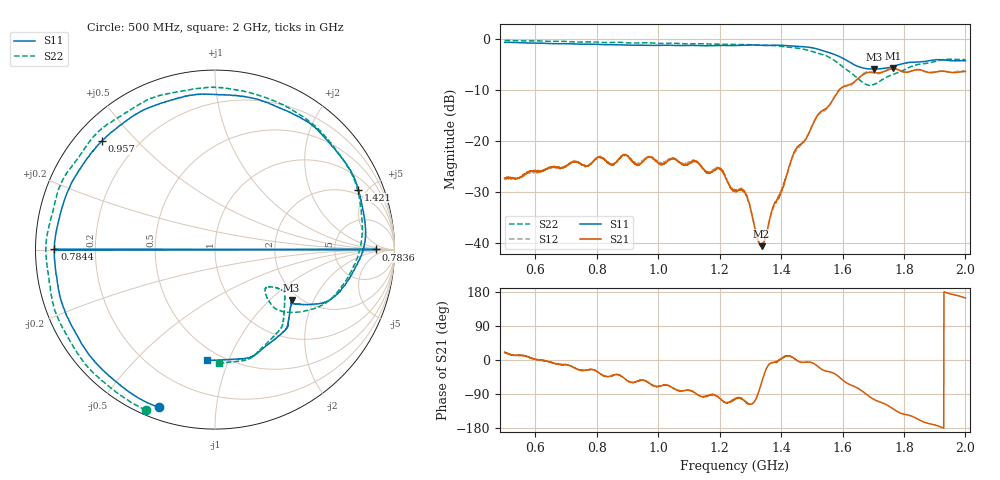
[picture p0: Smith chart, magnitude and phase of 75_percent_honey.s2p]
! Anritsu VNA Master:  Model: MS2036C/2
! SN:  2120025
! /bd0/50.s2p
! Existing Calibration Information:
! TYPE:  Current Settings,  Active Cal Settings
! TIME:  03/24/2026 03:09:40 AM,  03/18/2026 10:00:30 PM
! INTERNAL TEMP:  49.5 C,  42.3 C
! # POINTS:  2000,  2000
! START FREQ:  500.000 MHz,  500.000 MHz
! STOP FREQ:  2.000 GHz,  2.000 GHz
! SOURCE POWER:  High,  High
! IFBW:  10 kHz,  10 kHz
! AVG FACTOR:  1 ,  1
! REF PLANE 1:  0 mm,  0 mm
! REF PLANE 2:  0 mm,  0 mm
! CAL TYPE:  Full 2 Port,  Full 2 Port
! CAL METHOD:  SOLT,  SOLT
! CAL LINE TYPE:  Coax,  Coax
! DUT PORT 1:  N-Conn(M),  N-Conn(M)
! DUT PORT 2:  N-Conn(M),  N-Conn(M)
! CAL STATUS:  ?T: Accuracy moderate (|Temp diff| > 5.0 C),  --
# GHZ S MA R 50.0
! FREQ.GHZ  S11M  S11A  S21M  S21A  S12M  S12A  S22M  S22A
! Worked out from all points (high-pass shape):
!   2000 points, 500 MHz to 2 GHz, reference 50 ohm
!   highest |S21| = -5.72 dB at 1.766 GHz (marker M1); lowest = -40.5 dB at 1.337 GHz (marker M2)
!   |S21| within 3 dB of the highest: 1.629 GHz to end of sweep
!   lowest |S11| = -5.8 dB at 1.704 GHz (marker M3), VSWR 3.09, Z = 90.8 - j68.9 ohm
!   |S11| at or under -10 dB: nowhere
!   |S22| runs from -9.0 to -0.2 dB; largest |S21 - S12| = 0.97
!   S11 on the Smith chart (normalised r, x): 500 MHz: 0.05, -0.70; 783.6 MHz: 18, +0; 784.4 MHz: 0.06, +0.00; 957 MHz: 0.08, +0.40; 1.421 GHz: 1.64, +4.39; 2 GHz: 0.42, -0.84
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0.5  0.9336 -109.7  0.04384 20.7  0.04299 19.7  0.9728 -113.3
0.6313157  0.9134 -141.0  0.05253 -1.3  0.05256 -1.3  0.958 -144.5
0.7506253  0.8977 -171.4  0.05945 -27.7  0.05954 -28.1  0.9411 -173.4
0.7836418  0.8949 0.1  0.06085 -25.0  0.06213 -24.4  0.9425 179.0
0.7843922  0.8949 179.8  0.06156 -25.4  0.06191 -24.6  0.9425 178.8
0.8354177  0.8852 167.2  0.06186 -44.0  0.06248 -42.3  0.9287 165.5
0.9569785  0.8731 136.3  0.06649 -54.5  0.06761 -55.6  0.9248 136.2
1.0005  0.872 125.5  0.06126 -69.7  0.06234 -68.5  0.9102 125.3
1.110805  0.8711 98.9  0.06392 -82.1  0.06467 -83.0  0.9029 96.8
1.197849  0.8688 77.7  0.05455 -99.7  0.05438 -98.4  0.894 74.8
1.250375  0.8681 64.7  0.0327 -102.7  0.0325 -100.0  0.8885 61.2
1.286393  0.8764 55.8  0.02993 -113.5  0.03008 -111.3  0.8861 51.6
1.336668  0.8726 44.7  0.009405 -59.7  0.009636 -58.8  0.8727 37.9
1.42071  0.8661 22.7  0.0491 11.5  0.04973 10.2  0.8397 13.1
1.50025  0.8295 -0.1  0.1404 -7.3  0.1423 -7.4  0.7619 -11.1
1.590295  0.6764 -25.9  0.3202 -45.8  0.3251 -45.3  0.5689 -37.8
1.655578  0.5351 -34.3  0.4242 -77.2  0.4263 -75.4  0.4001 -43.1
1.703602  0.5109 -33.3  0.4718 -104.7  0.4651 -105.0  0.3624 -34.8
1.750125  0.5278 -36.9  0.5041 -121.2  0.5087 -120.6  0.4345 -31.0
1.765883  0.5433 -40.0  0.5177 -129.6  0.5191 -129.7  0.4545 -31.7
1.86043  0.6028 -59.5  0.4953 -162.6  0.4903 -161.7  0.5756 -51.7
2  0.6161 -94.1  0.4832 163.5  0.4902 163.4  0.6316 -88.0
